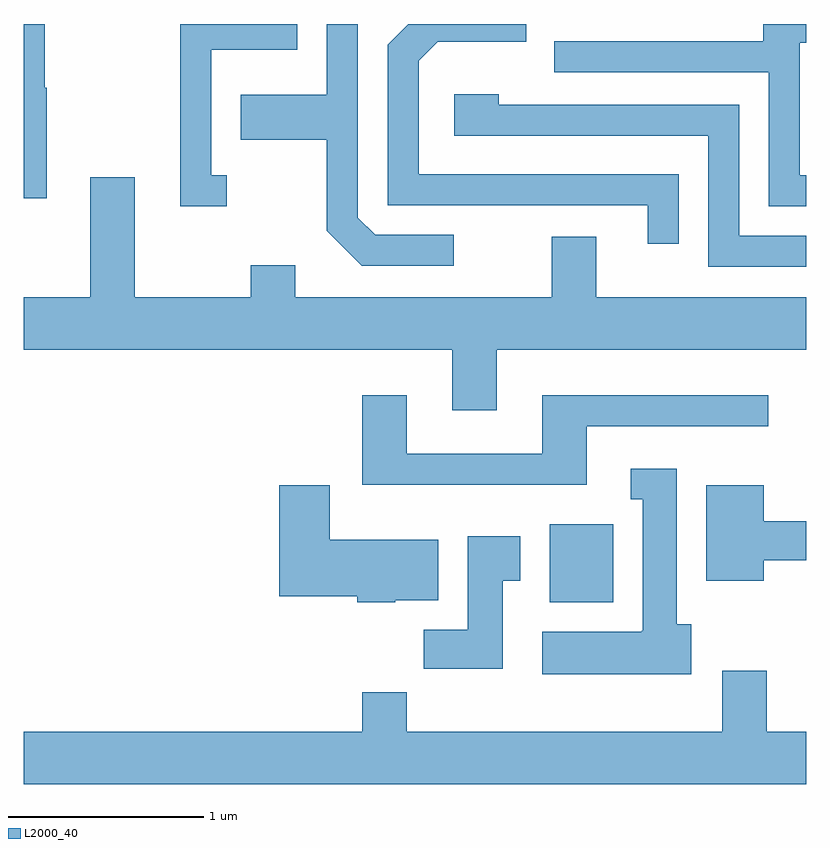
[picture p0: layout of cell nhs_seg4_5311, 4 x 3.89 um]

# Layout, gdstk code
import gdstk
lib = gdstk.Library(unit=1e-6, precision=1e-09)
def R(c, l, rs):  # rectangles x0, y0, x1, y1
    for r in rs: c.add(gdstk.rectangle(r[:2], r[2:], *l))
def P(c, l, *ps):  # polygons
    for p in ps: c.add(gdstk.Polygon(p, *l))
L2000_40 = (2000, 40)

nhs_seg4_5311 = lib.new_cell('nhs_seg4_5311')
R(nhs_seg4_5311, L2000_40, [(344.301,1269.026,344.624,1269.424)])
P(nhs_seg4_5311, L2000_40, [(345.611,1271.209),(345.579,1271.209),(345.579,1271.886),(345.611,1271.886),(345.611,1271.982),(345.391,1271.982),(345.391,1271.894),(344.323,1271.894),(344.323,1271.736),(345.421,1271.736),(345.421,1271.051),(345.611,1271.051)],
  [(341.729,1271.655),(341.719,1271.655),(341.719,1271.982),(341.611,1271.982),(341.611,1271.091),(341.729,1271.091)],
  [(344.959,1271.214),(343.629,1271.214),(343.629,1271.794),(343.727,1271.891),(344.179,1271.891),(344.179,1271.982),(343.577,1271.982),(343.471,1271.877),(343.471,1271.056),(344.801,1271.056),(344.801,1270.858),(344.959,1270.858)],
  [(342.648,1271.209),(342.569,1271.209),(342.569,1271.851),(343.009,1271.851),(343.009,1271.982),(342.411,1271.982),(342.411,1271.051),(342.648,1271.051)],
  [(343.808,1270.904),(343.407,1270.904),(343.319,1270.992),(343.319,1271.982),(343.161,1271.982),(343.161,1271.619),(342.721,1271.619),(342.721,1271.391),(343.161,1271.391),(343.161,1270.924),(343.339,1270.746),(343.808,1270.746)],
  [(345.611,1270.899),(345.269,1270.899),(345.269,1271.569),(344.039,1271.569),(344.039,1271.624),(343.811,1271.624),(343.811,1271.411),(345.111,1271.411),(345.111,1270.741),(345.611,1270.741)],
  [(344.029,1270.316),(345.611,1270.316),(345.611,1270.584),(344.539,1270.584),(344.539,1270.894),(344.311,1270.894),(344.311,1270.584),(342.999,1270.584),(342.999,1270.749),(342.771,1270.749),(342.771,1270.584),(342.179,1270.584),(342.179,1271.199),(341.951,1271.199),(341.951,1270.584),(341.611,1270.584),(341.611,1270.316),(343.801,1270.316),(343.801,1270.006),(344.029,1270.006)],
  [(344.489,1269.926),(345.418,1269.926),(345.418,1270.084),(344.261,1270.084),(344.261,1269.784),(343.569,1269.784),(343.569,1270.084),(343.341,1270.084),(343.341,1269.626),(344.489,1269.626)],
  [(345.024,1268.914),(344.949,1268.914),(344.949,1269.709),(344.713,1269.709),(344.713,1269.551),(344.776,1269.551),(344.776,1268.88),(344.77,1268.88),(344.77,1268.874),(344.261,1268.874),(344.261,1268.656),(345.024,1268.656)],
  [(345.394,1269.241),(345.611,1269.241),(345.611,1269.439),(345.394,1269.439),(345.394,1269.624),(345.101,1269.624),(345.101,1269.136),(345.394,1269.136)],
  [(343.51,1269.036),(343.729,1269.036),(343.729,1269.344),(343.174,1269.344),(343.174,1269.624),(342.916,1269.624),(342.916,1269.056),(343.316,1269.056),(343.316,1269.026),(343.51,1269.026)],
  [(344.059,1269.136),(344.149,1269.136),(344.149,1269.364),(343.881,1269.364),(343.881,1268.884),(343.656,1268.884),(343.656,1268.686),(344.059,1268.686)],
  [(345.611,1268.364),(345.409,1268.364),(345.409,1268.674),(345.181,1268.674),(345.181,1268.364),(343.569,1268.364),(343.569,1268.564),(343.341,1268.564),(343.341,1268.364),(341.611,1268.364),(341.611,1268.096),(345.611,1268.096)])

lib.write_gds('nhs_seg4_5311.gds')
